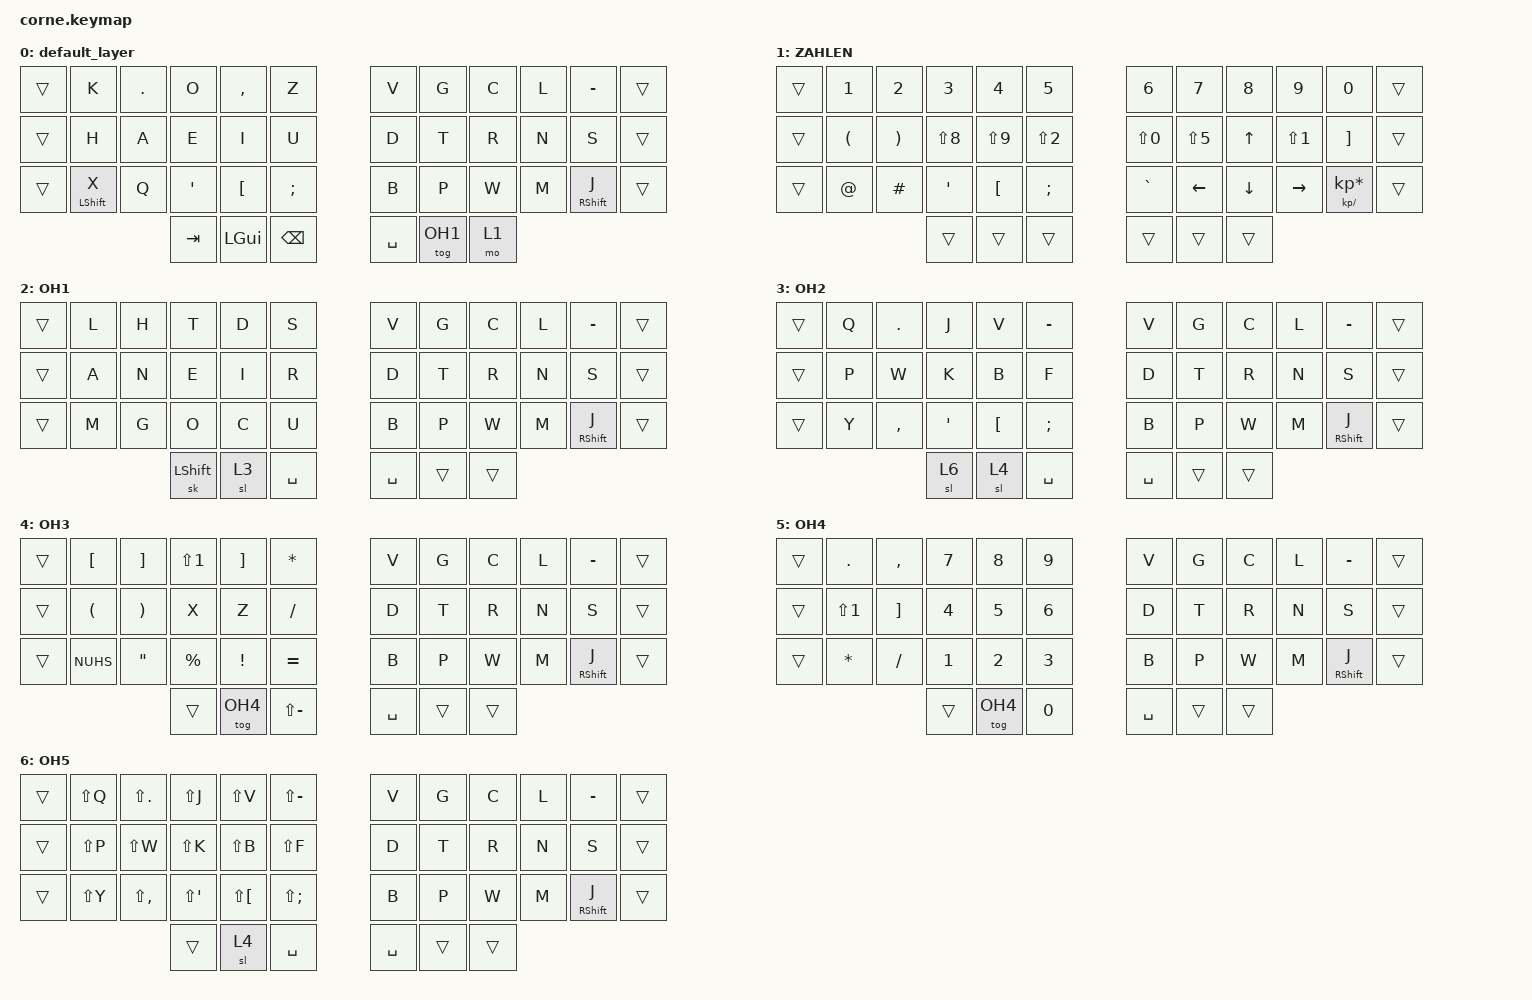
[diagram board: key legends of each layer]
/*
 * Copyright (c) 2020 The ZMK Contributors
 *
 * SPDX-License-Identifier: MIT
 */

#include <behaviors.dtsi>
#include <dt-bindings/zmk/keys.h>
#include <dt-bindings/zmk/bt.h>


#define DEFAULT 0
#define ZAHLEN  1
#define OH1 2
#define OH2  3
#define OH3 4
#define OH4  5
#define OH5  6

&mt {
    tapping-term-ms = <150>;
};


/ {
        keymap {
                compatible = "zmk,keymap";

                default_layer {
// -----------------------------------------------------------------------------------------
// |     |  K  |  .  |  O  |  ,  |  Z  |   |  V  |  G  |  C  |  L  |  ß  |     |
// |     |  H  |  A  |  E  |  I  |  U  |   |  D  |  T  |  R  |  N  |  S  |     |
// |     |  X  |  Q  |  Ä  |  Ü  |  Ö  |   |  B  |  P  |  W  |  M  |  J  |     |
//                  | TAB | GUI | BSPC |   | SPC |TG(3)|MO(0)|
                        bindings = <
   &trans &kp K                &kp DOT  &kp O     &kp COMMA &kp Z         &kp V        &kp G     &kp C  &kp L   &kp MINUS          &trans
   &trans &kp H                &kp A    &kp E     &kp I     &kp U         &kp D        &kp T     &kp R  &kp N   &kp S              &trans  
   &trans &mt LSHIFT X         &kp Q    &kp SQT   &kp LBKT  &kp SEMI      &kp B        &kp P     &kp W  &kp M   &mt RSHIFT J       &trans  
                                        &kp TAB   &kp LGUI  &kp BSPC      &kp SPACE    &tog OH1  &mo 1
                        >;
                };
		
	        ZAHLEN {
// -----------------------------------------------------------------------------------------
// |     |  1  |  2  |  3  |  4  |  5  |   |  6  |  7  |  8  |  9  |  0  |     |
// |     |  (  |  )  |  [  |  ]  |  "  |   |  =  |  %  |  up |  +  |  -  |     |
// |     |  @  |  #  |     |     |     |   |  ^  |  le |  do |  ri |  *  |     |
//                   | XXX | XXX | XXX |   | XXX | XXX | TG(2) |
                        bindings = <
   &trans &kp N1    &kp N2    &kp N3      &kp N4       &kp N5                &kp N6      &kp N7      &kp N8    &kp N9       &kp N0                    &trans
   &trans &kp LPAR  &kp RPAR  &kp LS(N8)  &kp LS(N9)   &kp LS(N2)            &kp LS(N0)  &kp LS(N5)  &kp UP    &kp LS(N1)   &kp RBKT                  &trans  
   &trans &kp AT    &kp HASH  &kp SQT     &kp LBKT     &kp SEMI              &kp GRAVE   &kp LEFT    &kp DOWN  &kp RIGHT    &mt KP_SLASH KP_MULTIPLY  &trans  
                              &trans      &trans       &trans                &trans      &trans      &trans
                        >;
                };

                OH1 {
// -----------------------------------------------------------------------------------------
// |     |  L  |  H  |  T  |  D  |  S  |  								 |  V  |  G  |  C  |  L  |  ß  |     |
// |     |  A  |  N  |  E  |  I  |  R  |  								 |  D  |  T  |  R  |  N  |  S  |     |
// |     |  M  |  G  |  O  |  C  |  U  |  								 |  B  |  P  |  W  |  M  |  J  |     |
//                   |skSHI|SL(3)| SPC |  							         | SPC |MO(3)|trans|
                        bindings = <
   &trans	 &kp L    &kp H  &kp T       &kp D     &kp S      				   &kp V      &kp G  &kp C  &kp L   &kp MINUS          &trans
   &trans	 &kp A    &kp N  &kp E       &kp I     &kp R     				   &kp D      &kp T  &kp R  &kp N   &kp S              &trans  
   &trans	 &kp M    &kp G  &kp O       &kp C     &kp U  				           &kp B      &kp P  &kp W  &kp M   &mt RSHIFT J       &trans  
                             	 &sk LSHIFT  &sl 3     &kp SPC   				   &kp SPACE  &trans &trans
                        >;
                };

                OH2 {
// -----------------------------------------------------------------------------------------
// |     |  Q  |  .  |  J  |  V  |  ß  |  								 |  V  |  G  |  C  |  L  |  ß  |     |
// |     |  P  |  W  |  K  |  B  |  F  |  								 |  D  |  T  |  R  |  N  |  S  |     |
// |     |  Z  |  ,  |  Ä  |  Ö  |  Ü  |  								 |  B  |  P  |  W  |  M  |  J  |     |
//                   | SHI | SL 4| SPC |  								 | SPC |MO(3)|trans|
                        bindings = <
   &trans	 &kp Q  &kp DOT     &kp J     &kp V     &kp MINUS      				   &kp V      &kp G  &kp C  &kp L   &kp MINUS          &trans
   &trans	 &kp P  &kp W       &kp K     &kp B     &kp F    				   &kp D      &kp T  &kp R  &kp N   &kp S              &trans  
   &trans	 &kp Y  &kp COMMA   &kp SQT   &kp LBKT  &kp SEMI  				   &kp B      &kp P  &kp W  &kp M   &mt RSHIFT J       &trans  
                                    &sl 6     &sl 4     &kp SPC   				   &kp SPACE  &trans &trans
                        >;
                };

                OH3 {
// -----------------------------------------------------------------------------------------
// |    |  [  |  ]  |  +  |  -  |  *  |  								 |  V  |  G  |  C  |  L  |  ß  |     |
// |    |  (  |  )  |  X  |  Y  |  /  |  								 |  D  |  T  |  R  |  N  |  S  |     |
// |    |  #  |  "  |  %  |  !  |  =  |  								 |  B  |  P  |  W  |  M  |  J  |     |
//                  |     | TG 5|  ?  |  								 | SPC |MO(3)|trans|
                        bindings = <
   &trans	  &kp LBKT &kp RBKT  &kp LS(N1)  &kp RBKT    &kp STAR   			   &kp V      &kp G  &kp C  &kp L   &kp MINUS          &trans
   &trans 	  &kp LPAR &kp RPAR  &kp X       &kp Z       &kp SLASH				   &kp D      &kp T  &kp R  &kp N   &kp S              &trans  
   &trans 	  &kp NUHS &kp DQT   &kp PRCNT   &kp EXCL    &kp EQUAL				   &kp B      &kp P  &kp W  &kp M   &mt RSHIFT J       &trans  
                                     &trans      &tog OH4    &kp LS(MINUS)   		           &kp SPACE  &trans &trans
                        >;
                };

                OH4 {
// -----------------------------------------------------------------------------------------
// |    |  .  |  ,  |  7  |  8  |  9  |  								 |  V  |  G  |  C  |  L  |  ß  |     |
// |    |  +  |  -  |  4  |  5  |  6  |  								 |  D  |  T  |  R  |  N  |  S  |     |
// |    |  *  |  /  |  1  |  2  |  3  |  								 |  B  |  P  |  W  |  M  |  J  |     |
//                  |     |TG 5 |  0  |  								 | SPC |MO(3)|trans|
                        bindings = <
   &trans	&kp DOT        &kp COMMA  &kp N7     &kp N8    &kp N9      				   &kp V      &kp G  &kp C  &kp L   &kp MINUS          &trans
   &trans 	&kp LS(N1)     &kp  RBKT  &kp N4     &kp N5    &kp N6     				   &kp D      &kp T  &kp R  &kp N   &kp S              &trans  
   &trans 	&kp STAR       &kp SLASH  &kp N1     &kp N2    &kp N3  				           &kp B      &kp P  &kp W  &kp M   &mt RSHIFT J       &trans  
          	                          &trans     &tog OH4  &kp N0   				   &kp SPACE  &trans &trans
                        >;
                };


                OH5 {
// -----------------------------------------------------------------------------------------
// |     |  Q  |  .  |  J  |  V  |  ß  |  								 |  V  |  G  |  C  |  L  |  ß  |     |
// |     |  P  |  W  |  K  |  B  |  F  |  								 |  D  |  T  |  R  |  N  |  S  |     |
// |     |  Z  |  ,  |  Ä  |  Ö  |  Ü  |  								 |  B  |  P  |  W  |  M  |  J  |     |
//                   |     | SL 4| SPC |  								 | SPC |MO(3)|trans|
                        bindings = <
   &trans	 &kp LS(Q)  &kp LS(DOT)     &kp LS(J)     &kp LS(V)     &kp LS(MINUS)      		           &kp V      &kp G  &kp C  &kp L   &kp MINUS          &trans
   &trans	 &kp LS(P)  &kp LS(W)       &kp LS(K)     &kp LS(B)     &kp LS(F)    				   &kp D      &kp T  &kp R  &kp N   &kp S              &trans  
   &trans	 &kp LS(Y)  &kp LS(COMMA)   &kp LS(SQT)   &kp LS(LBKT)  &kp LS(SEMI)  				   &kp B      &kp P  &kp W  &kp M   &mt RSHIFT J       &trans  
                                            &trans        &sl 4         &kp SPC   		                   &kp SPACE  &trans &trans
                        >;
                };

        };
};

/ {
    combos {
        compatible = "zmk,combos";
        combo_enter {
            timeout-ms = <50>;
            key-positions = <18 19>;
            bindings = <&kp ENTER>;
        };
		combo_f {
            timeout-ms = <50>;
            key-positions = <21 22>;
            bindings = <&kp F>;
        };
		combo_esc {
            timeout-ms = <50>;
            key-positions = <1 2>;
            bindings = <&kp ESC>;
        };
		combo_z {
            timeout-ms = <50>;
            key-positions = <9 10>;
            bindings = <&kp Y>;
        };
		combo_backspace {
            timeout-ms = <50>;
            key-positions = <4 5>;
            bindings = <&kp BSPC>;
        };
		combo_numberlayer {
            timeout-ms = <50>;
            key-positions = <24 25>;
            bindings = <&tog OH4>;
        };



    };
};









